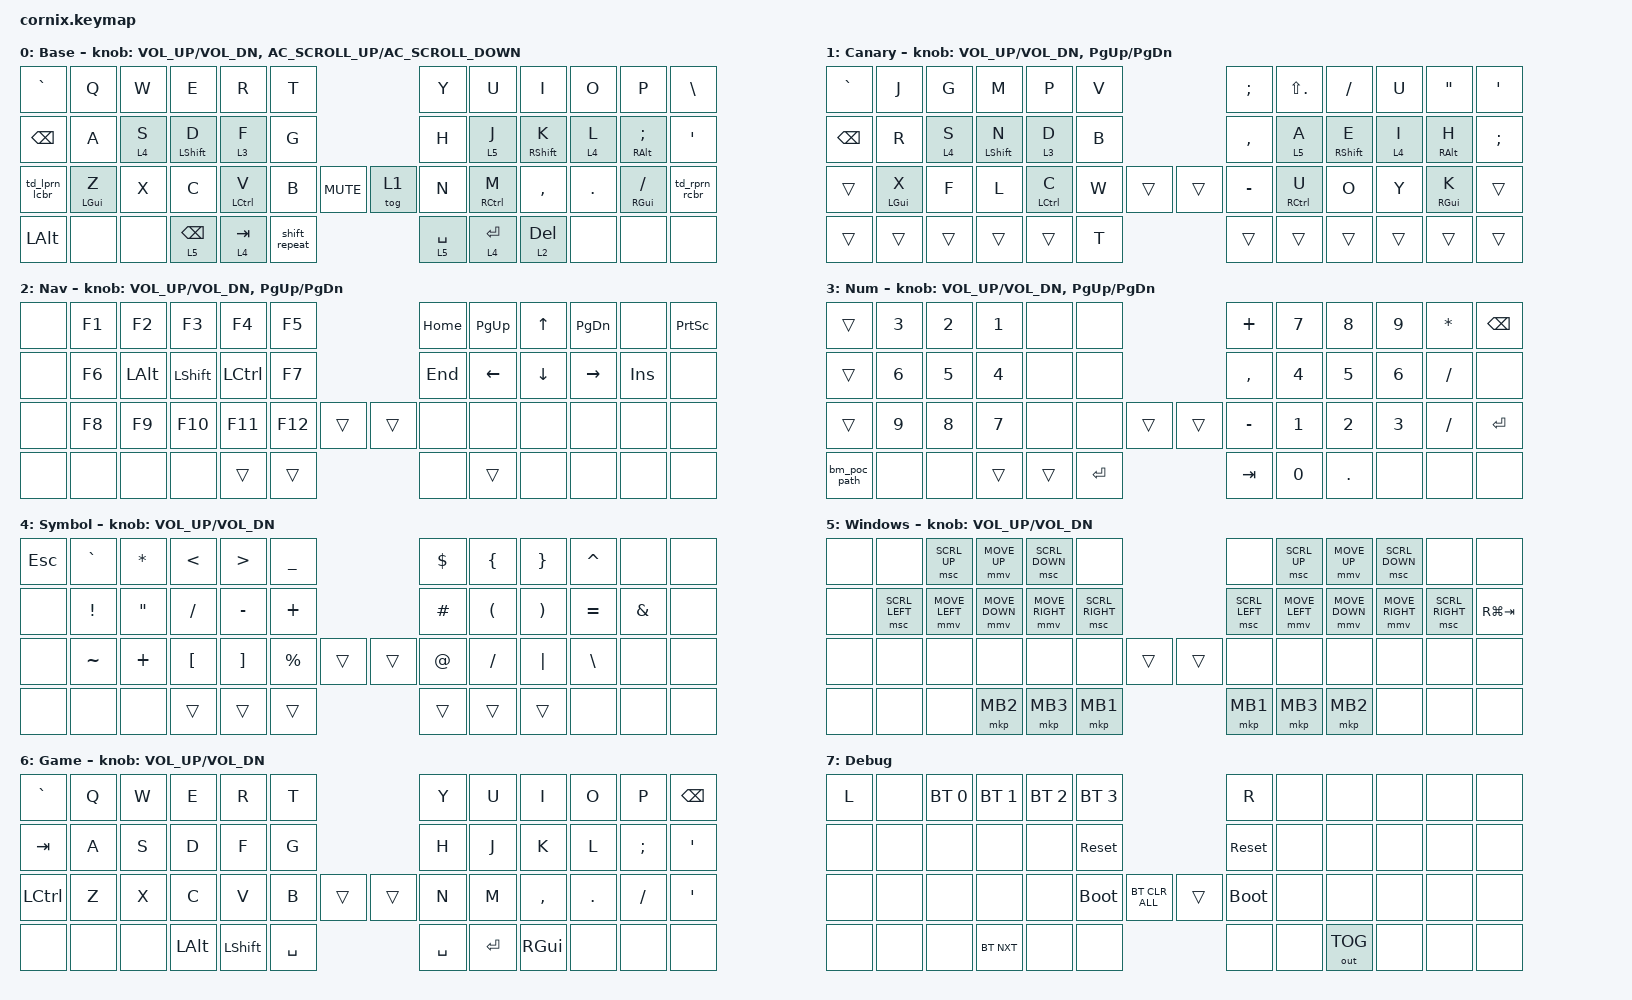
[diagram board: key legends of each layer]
/*
 * Copyright (c) 2020 The ZMK Contributors
 *
 * SPDX-License-Identifier: MIT
 */

#include "zmk-helpers/helper.h"
#include "includes/cornix54.h"

// tap windows for ctl alt and gui

#define HM_TAPPING_TERM 250
#define HM_TAPPING_REPEAT 210

// quick tapping for shift

#define HM_TAPPING_TERM_FAST 200
#define HM_PRIOR_IDLE 70
#define BASE 0
#define WIN 1
#define LOWER 2
#define RAISE 3
#define ADJUST 4
#define NAVI   5
#define NUM    6
#define DEBUG  7

// https://github.com/urob/zmk-config/tree/main#timeless-homerow-mods

#define KEYS_L LT0 LT1 LT2 LT3 LT4 LT5 LM0 LM1 LM2 LM3 LM4 LM5 LB0 LB1 LB2 LB3 LB4 LB5  // left hand
#define KEYS_R RT0 RT1 RT2 RT3 RT4 RT5 RM0 RM1 RM2 RM3 RM4 RM5 RB0 RB1 RB2 RB3 RB4 RB5  // right hand
#define THUMBS LH1 LH0 RH0 RH1
#define KEYS_T LH1 LH0 RH0 RH1
#define ZMK_POINTING_DEFAULT_SCRL_VAL 15

#include <behaviors.dtsi>
#include <dt-bindings/zmk/bt.h>
#include <dt-bindings/zmk/keys.h>
#include <dt-bindings/zmk/outputs.h>
#include <dt-bindings/zmk/pointing.h>

/ {
    behaviors {
        // Home Row Mods

        hm_lctrl: homerow_mods_left {
            compatible = "zmk,behavior-hold-tap";
            #binding-cells = <2>;
            bindings = <&kp>, <&kp>;

            flavor = "balanced";
            tapping-term-ms = <HM_TAPPING_TERM>;
            quick-tap-ms = <200>;                // repeat on tap-into-hold
            require-prior-idle-ms = <HM_PRIOR_IDLE>;
            hold-trigger-key-positions = <KEYS_R KEYS_T>;
            hold-trigger-on-release;
            hold-while-undecided;
        };

        hm_l: homerow_mods_gui_left {
            compatible = "zmk,behavior-hold-tap";
            #binding-cells = <2>;
            bindings = <&kp>, <&kp>;

            flavor = "balanced";
            tapping-term-ms = <HM_TAPPING_TERM>;
            quick-tap-ms = <200>;                // repeat on tap-into-hold
            require-prior-idle-ms = <HM_PRIOR_IDLE>;
            hold-trigger-key-positions = <KEYS_R KEYS_T>;
            hold-trigger-on-release;
        };

        hm_rctrl: homerow_mods_right {
            compatible = "zmk,behavior-hold-tap";
            #binding-cells = <2>;
            bindings = <&kp>, <&kp>;

            flavor = "balanced";
            tapping-term-ms = <HM_TAPPING_TERM>;
            quick-tap-ms = <200>;
            require-prior-idle-ms = <HM_PRIOR_IDLE>;
            hold-trigger-key-positions = <KEYS_L KEYS_T>;
            hold-trigger-on-release;
            hold-while-undecided;
        };

        hm_r: homerow_mods_gui_right {
            compatible = "zmk,behavior-hold-tap";
            #binding-cells = <2>;
            bindings = <&kp>, <&kp>;

            flavor = "balanced";
            tapping-term-ms = <HM_TAPPING_TERM>;
            quick-tap-ms = <200>;
            require-prior-idle-ms = <HM_PRIOR_IDLE>;
            hold-trigger-key-positions = <KEYS_L KEYS_T>;
            hold-trigger-on-release;
        };

        // Positional Homerow mods for shift
        // Use faster tapping term and disable some features that may
        // cause false negatives.

        hm_shift_l: hm_shift_l {
            compatible = "zmk,behavior-hold-tap";
            #binding-cells = <2>;
            bindings = <&kp>, <&kp>;

            //flavor = "balanced";

            flavor = "balanced";
            tapping-term-ms = <HM_TAPPING_TERM_FAST>;
            quick-tap-ms = <200>;
            require-prior-idle-ms = <HM_PRIOR_IDLE>;
            hold-trigger-key-positions = <KEYS_R KEYS_T>;
            hold-trigger-on-release;
            hold-while-undecided;
        };

        hm_shift_r: hm_shift_r {
            compatible = "zmk,behavior-hold-tap";
            #binding-cells = <2>;
            bindings = <&kp>, <&kp>;

            flavor = "balanced";
            tapping-term-ms = <HM_TAPPING_TERM_FAST>;
            quick-tap-ms = <200>;
            require-prior-idle-ms = <HM_PRIOR_IDLE>;
            hold-trigger-key-positions = <KEYS_L KEYS_T>;

            // for quick tapping; shift+~

            hold-trigger-on-release;
            hold-while-undecided;
        };

        /*
         * Non-Positional Homerow Mods
         * Used for &mm_grescm_gui behavior on left hand.
         *
         * Usage: &hm LSHFT T
         * Tap: T
         * Tap-Tap-Hold: Repeat T
         * Hold: LSHIFT
         */

        hm: homerow_mods {
            compatible = "zmk,behavior-hold-tap";
            #binding-cells = <2>;
            bindings = <&kp>, <&kp>;

            flavor = "balanced";
            tapping-term-ms = <HM_TAPPING_TERM>;
            quick-tap-ms = <200>;
        };

        lt: layer_tap {
            compatible = "zmk,behavior-hold-tap";
            #binding-cells = <2>;
            bindings = <&mo>, <&kp>;

            flavor = "balanced";
            tapping-term-ms = <HM_TAPPING_TERM>;
            quick-tap-ms = <200>;
            require-prior-idle-ms = <HM_PRIOR_IDLE>;
        };

        lt_nav: layer_tap_nav {
            compatible = "zmk,behavior-hold-tap";
            #binding-cells = <2>;
            bindings = <&mo>, <&kp>;

            flavor = "hold-preferred";
            tapping-term-ms = <HM_TAPPING_TERM>;
            quick-tap-ms = <200>;
            require-prior-idle-ms = <HM_PRIOR_IDLE>;
        };

        // Tap Dances

        td_lprn_lcbr: tap_dance_left_prn_cbr {
            compatible = "zmk,behavior-tap-dance";
            #binding-cells = <0>;
            tapping-term-ms = <200>;
            bindings = <&kp LPAR>, <&kp LBRC>;
        };

        td_rprn_rcbr: tap_dance_right_prn_cbr {
            compatible = "zmk,behavior-tap-dance";
            #binding-cells = <0>;
            tapping-term-ms = <200>;
            bindings = <&kp RPAR>, <&kp RBRC>;
        };

        td_comm_scln: tap_dance_comm_scln {
            compatible = "zmk,behavior-tap-dance";
            #binding-cells = <0>;
            tapping-term-ms = <200>;
            bindings = <&kp COMMA>, <&kp SEMICOLON>;
        };

        td_slsh_scln: tap_dance_slsh_scln {
            compatible = "zmk,behavior-tap-dance";
            #binding-cells = <0>;
            tapping-term-ms = <200>;
            bindings = <&kp SLASH>, <&kp SEMICOLON>;
        };

        td_scln_sqt: td_scln_sqt {
            compatible = "zmk,behavior-tap-dance";
            #binding-cells = <0>;
            tapping-term-ms = <200>;
            bindings = <&kp SEMICOLON>, <&kp SQT>;

            label = "TD_SCLN_SQT";
        };

        // Adaptive Keys

        shift_repeat: shift_repeat {
            compatible = "zmk,behavior-adaptive-key";
            #binding-cells = <0>;
            bindings = <&sk LSHFT>;

            repeat {
                trigger-keys = <A B C D E F G H I J K L M N O Q R S T V W X Y Z>;
                bindings = <&key_repeat>;
                max-prior-idle-ms = <400>;
                strict-modifiers;
            };

            arrow {
                trigger-keys = <MINUS EQUAL>;
                bindings = <&kp GT>;
                max-prior-idle-ms = <400>;
            };

            u_i {
                trigger-keys = <U>;
                bindings = <&kp I>;
                max-prior-idle-ms = <400>;
            };

            p_t {
                trigger-keys = <P>;
                bindings = <&kp T>;
                max-prior-idle-ms = <400>;
            };
        };
    };

    combos {
        compatible = "zmk,combos";

        combo_caps_word {
            key-positions = <28 33>;
            bindings = <&caps_word>;
        };

        combo_caps_lock {
            key-positions = <29 32>;
            bindings = <&kp CAPSLOCK>;
        };

        combo_esc {
            key-positions = <0 1>;
            bindings = <&kp ESC>;
        };

        combo_copy {
            key-positions = <26 27>;
            bindings = <&kp LC(C)>;
        };

        combo_cut {
            key-positions = <26 28>;
            bindings = <&kp LC(X)>;
        };

        combo_paste {
            key-positions = <27 28>;
            bindings = <&kp LC(V)>;
        };

        combo_game {
            key-positions = <0 11>;
            bindings = <&tog 6>;
        };

        combo_semicolon {
            key-positions = <34 35>;
            bindings = <&kp SEMICOLON>;
        };

        combo_quote {
            key-positions = <34 33>;
            bindings = <&kp DOUBLE_QUOTES>;
        };

        combo_canary {
            key-positions = <1 2 3 4 7 8 9 10>;
            bindings = <&tog 1>;
        };

        combo_num {
            key-positions = <33 34 35>;
            bindings = <&tog 3>;
        };

        combo_debug {
            bindings = <&mo 7>;
            key-positions = <40 39>;
        };

        combo_debug_r {
            bindings = <&mo 7>;
            key-positions = <48 47>;
        };

        combo_bspc {
            bindings = <&kp BSPC>;
            key-positions = <10 11>;
        };

        z {
            bindings = <&kp Z>;
            key-positions = <1 2>;
            layers = <1>;
        };
    };

    macros {
        bm_poc_path: bm_poc_path {
            compatible = "zmk,behavior-macro";
            #binding-cells = <0>;
            bindings = <&kp FSLH &kp H &kp O &kp M &kp E &kp N2 &kp FSLH &kp F &kp T &kp P &kp FSLH &kp W &kp E &kp E &kp K &kp L &kp Y &kp FSLH &kp W &kp T &kp I &kp L &kp L &kp E &kp T &kp T &kp FSLH>;
            label = "BM_POC_PATH";
        };
    };

    keymap {
        compatible = "zmk,keymap";

        default_layer {
            display-name = "Base";

            // ------------------------------------------------------------------------------------------------------------
            // |   `   |  1  |  2  |  3   |  4   |  5   |                   |  6   |  7    |  8    |  9   |   0   |       |
            // |  ESC  |  Q  |  W  |  E   |  R   |  T   |                   |  Y   |  U    |  I    |  O   |   P   | BKSPC |
            // |  TAB  |  A  |  S  |  D   |  F   |  G   |                   |  H   |  J    |  K    |  L   |   ;   |   '   |
            // | SHIFT |  Z  |  X  |  C   |  V   |  B   |  MUTE  |  |       |  N   |  M    |  ,    |  .   |   /   | SHIFT |
            //               | GUI | ALT  | CTRL | LOWER|  ENTER |  | SPACE | RAISE| CTRL  | ALT   | GUI  |

            bindings = <
&kp GRAVE      &kp Q         &kp W    &kp E                     &kp R              &kp T                              &kp Y        &kp U              &kp I                      &kp O    &kp P                 &kp BSLH
&kp BACKSPACE  &kp A         &lt 4 S  &hm_shift_l LEFT_SHIFT D  &lt 3 F            &kp G                              &kp H        &lt 5 J            &hm_shift_r RIGHT_SHIFT K  &lt 4 L  &hm_r RIGHT_ALT SEMI  &kp SQT
&td_lprn_lcbr  &hm_l LGUI Z  &kp X    &kp C                     &hm_lctrl LCTRL V  &kp B          &kp C_MUTE  &tog 1  &kp N        &hm_rctrl RCTRL M  &kp COMMA                  &kp DOT  &hm_r RGUI SLASH      &td_rprn_rcbr
&kp LALT       &none         &none    &lt_nav 5 BSPC            &lt 4 TAB          &shift_repeat                      &lt 5 SPACE  &lt 4 ENTER        &lt_nav 2 DELETE           &none    &none                 &none
            >;

            sensor-bindings =
                <&inc_dec_kp C_VOL_UP C_VOL_DN>,
                <&inc_dec_kp C_AC_SCROLL_UP C_AC_SCROLL_DOWN>;
        };

        canary_layer {
            display-name = "Canary";

            // ------------------------------------------------------------------------------------------------------------
            // |   `   |  1  |  2  |  3   |  4   |  5   |                   |  6   |  7    |  8    |  9   |   0   |       |
            // |  ESC  |  Q  |  W  |  E   |  R   |  T   |                   |  Y   |  U    |  I    |  O   |   P   | BKSPC |
            // |  TAB  |  A  |  S  |  D   |  F   |  G   |                   |  H   |  J    |  K    |  L   |   ;   |   '   |
            // | SHIFT |  Z  |  X  |  C   |  V   |  B   |  MUTE  |  |       |  N   |  M    |  ,    |  .   |   /   | SHIFT |
            //               | GUI | ALT  | CTRL | LOWER|  ENTER |  | SPACE | RAISE| CTRL  | ALT   | GUI  |

            bindings = <
&kp GRAVE      &kp J         &kp G    &kp M                     &kp P              &kp V                  &kp SEMI   &kp LS(DOT)        &kp SLASH                  &kp U    &kp DQT            &kp SINGLE_QUOTE
&kp BACKSPACE  &kp R         &lt 4 S  &hm_shift_l LEFT_SHIFT N  &lt 3 D            &kp B                  &kp COMMA  &lt 5 A            &hm_shift_r RIGHT_SHIFT E  &lt 4 I  &hm_r RIGHT_ALT H  &kp SEMICOLON
&trans         &hm_l LGUI X  &kp F    &kp L                     &hm_lctrl LCTRL C  &kp W  &trans  &trans  &kp MINUS  &hm_rctrl RCTRL U  &kp O                      &kp Y    &hm_r RGUI K       &trans
&trans         &trans        &trans   &trans                    &trans             &kp T                  &trans     &trans             &trans                     &trans   &trans             &trans
            >;

            sensor-bindings = <&inc_dec_kp C_VOL_UP C_VOL_DN &inc_dec_kp PG_UP PG_DN>;
        };

        Nav_layer {
            display-name = "Nav";

            // TODO: Some binds are waiting for shifted keycode support.
            // -------------------------------
            // |       |  F1 |  F2 |  F3  |  F4  |  F5  |                   |  F6  |  F7   |  F8   |  F9  |  F10  |  F11  |
            // |   `   |  1  |  2  |  3   |  4   |  5   |                   |  6   |  7    |  8    |  9   |   0   |  F12  |
            // |       |  !  |  @  |  #   |  $   |  %   |                   |  ^   |  &    |  *    |  (   |   )   |   |   |
            // |       |  =  |  -  |  +   |  {   |  }   |        |  |       |  [   |  ]    |  ;    |  :   |   \   |       |
            //               |     |      |      |      |        |  |       |      |       |       |      |

            bindings = <
&none  &kp F1  &kp F2        &kp F3      &kp F4     &kp F5                   &kp HOME  &kp PAGE_UP     &kp UP_ARROW    &kp PAGE_DOWN    &none       &kp PRINTSCREEN
&none  &kp F6  &kp LEFT_ALT  &kp LSHIFT  &kp LCTRL  &kp F7                   &kp END   &kp LEFT_ARROW  &kp DOWN_ARROW  &kp RIGHT_ARROW  &kp INSERT  &none
&none  &kp F8  &kp F9        &kp F10     &kp F11    &kp F12  &trans  &trans  &none     &none           &none           &none            &none       &none
&none  &none   &none         &none       &trans     &trans                   &none     &trans          &none           &none            &none       &none
            >;

            sensor-bindings = <&inc_dec_kp C_VOL_UP C_VOL_DN &inc_dec_kp PG_UP PG_DN>;
        };

        Num_layer {
            display-name = "Num";

            // ------------------------------------------------------------------------------------------------------------
            // | BTCLR | BT1  | BT2  |  BT3  |  BT4  |  BT5 |                |      |      |       |      |       |       |
            // |       | INS  | PSCR | GUI   |       |      |                | PGUP |      |   ^   |      |       |       |
            // |       | ALT  | CTRL | SHIFT |       | CAPS |                | PGDN |   <- |   v   |  ->  |  DEL  | BKSPC |
            // |       | UNDO | CUT  | COPY  | PASTE |      |      |  |      |      |      |       |      |       |       |
            //                |      |       |       |      |      |  |      |      |      |       |      |

            bindings = <
&trans        &kp N3  &kp N2  &kp N1  &none   &none                      &kp PLUS   &kp N7  &kp N8   &kp N9  &kp ASTRK  &kp BSPC
&trans        &kp N6  &kp N5  &kp N4  &none   &none                      &kp COMMA  &kp N4  &kp N5   &kp N6  &kp SLASH  &none
&trans        &kp N9  &kp N8  &kp N7  &none   &none      &trans  &trans  &kp MINUS  &kp N1  &kp N2   &kp N3  &kp SLASH  &kp ENTER
&bm_poc_path  &none   &none   &trans  &trans  &kp ENTER                  &kp TAB    &kp N0  &kp DOT  &none   &none      &none
            >;

            sensor-bindings = <&inc_dec_kp C_VOL_UP C_VOL_DN &inc_dec_kp PG_UP PG_DN>;
        };

        Symbol_layer {
            display-name = "Symbol";

            // ----------------------------------------------------------------------------------------------------------------------------
            // | BTCLR  |  BT1    |  BT2    |   BT3   |   BT4   |   BT5   |                  |      |      |       |      |       |       |
            // | moDEBUG| RGB_HUD | RGB_HUI | RGB_SAD | RGB_SAI | RGB_EFF |                  |      |      |       |      |       |       |
            // | EXTPWR | RGB_BRD | RGB_BRI |         |         |         |                  |      |      |       |      |       |       |
            // |        |         |         |         |         |         | RGB_TOG | |      |      |      |       |      |       |       |
            //                    |         |         |         |         |         | |      |      |      |       |      |

            bindings = <
&kp ESC  &kp GRAVE  &kp ASTRK  &kp LT    &kp GT     &kp UNDER                    &kp DOLLAR  &kp LBRC              &kp RBRC               &kp CARET  &none     &none
&none    &kp EXCL   &kp DQT    &kp FSLH  &kp MINUS  &kp PLUS                     &kp HASH    &kp LEFT_PARENTHESIS  &kp RIGHT_PARENTHESIS  &kp EQUAL  &kp AMPS  &none
&none    &kp TILDE  &kp PLUS   &kp LBKT  &kp RBKT   &kp PERCENT  &trans  &trans  &kp AT      &kp FSLH              &kp PIPE               &kp BSLH   &none     &none
&none    &none      &none      &trans    &trans     &trans                       &trans      &trans                &trans                 &none      &none     &none
            >;

            sensor-bindings = <&inc_dec_kp C_VOL_UP C_VOL_DN>;
        };

        Mouse_layer {
            display-name = "Windows";
            bindings = <
&none  &none           &msc SCRL_UP    &mmv MOVE_UP    &msc SCRL_DOWN   &none                            &none           &msc SCRL_UP    &mmv MOVE_UP    &msc SCRL_DOWN   &none            &none
&none  &msc SCRL_LEFT  &mmv MOVE_LEFT  &mmv MOVE_DOWN  &mmv MOVE_RIGHT  &msc SCRL_RIGHT                  &msc SCRL_LEFT  &mmv MOVE_LEFT  &mmv MOVE_DOWN  &mmv MOVE_RIGHT  &msc SCRL_RIGHT  &kp RG(TAB)
&none  &none           &none           &none           &none            &none            &trans  &trans  &none           &none           &none           &none            &none            &none
&none  &none           &none           &mkp MB2        &mkp MB3         &mkp MB1                         &mkp MB1        &mkp MB3        &mkp MB2        &none            &none            &none
            >;

            sensor-bindings = <&inc_dec_kp C_VOL_UP C_VOL_DN>;
            label = "Mouse";
        };

        Game_layer {
            display-name = "Game";
            bindings = <
&kp GRAVE  &kp Q  &kp W  &kp E     &kp R      &kp T                      &kp Y      &kp U      &kp I      &kp O    &kp P     &kp BSPC
&kp TAB    &kp A  &kp S  &kp D     &kp F      &kp G                      &kp H      &kp J      &kp K      &kp L    &kp SEMI  &kp APOS
&kp LCTRL  &kp Z  &kp X  &kp C     &kp V      &kp B      &trans  &trans  &kp N      &kp M      &kp COMMA  &kp DOT  &kp FSLH  &kp APOS
&none      &none  &none  &kp LALT  &kp LSHFT  &kp SPACE                  &kp SPACE  &kp ENTER  &kp RGUI   &none    &none     &none
            >;

            sensor-bindings = <&inc_dec_kp C_VOL_UP C_VOL_DN>;
        };

        Debug_layer {
            display-name = "Debug";

            // ----------------------------------------------------------------------------------------------------------------------------
            // | BTCLR  |  BT1    |  BT2    |   BT3   |   BT4   |   BT5   |                  |      |      |       |      |       |       |
            // | EXTPWR | BTCLR | RGB_HUI | RGB_SAD | RGB_SAI | RGB_EFF |                  |      |      |       |      |       |       |
            // |        | RGB_BRD | RGB_BRI |         |         |         |                  |      |      |       |      |       |       |
            // |        |         |         |         |         |         | RGB_TOG | |      |      |      |       |      |       |       |
            //                    |         |         |         |         |         | |      |      |      |       |      |

            bindings = <
&kp L  &none  &bt BT_SEL 0  &bt BT_SEL 1  &bt BT_SEL 2  &bt BT_SEL 3                          &kp R        &none  &none         &none  &none  &none
&none  &none  &none         &none         &none         &sys_reset                            &sys_reset   &none  &none         &none  &none  &none
&none  &none  &none         &none         &none         &bootloader   &bt BT_CLR_ALL  &trans  &bootloader  &none  &none         &none  &none  &none
&none  &none  &none         &bt BT_NXT    &none         &none                                 &none        &none  &out OUT_TOG  &none  &none  &none
            >;
        };
    };
};
